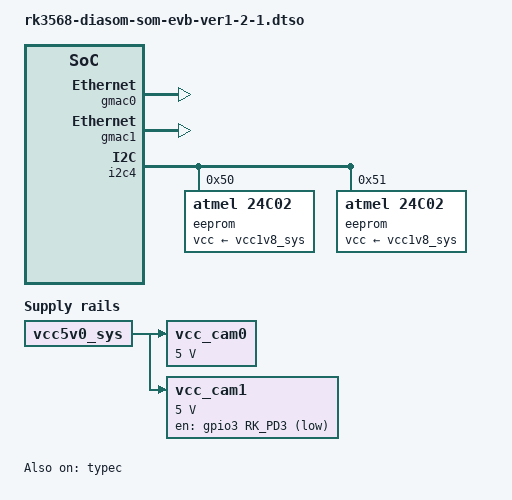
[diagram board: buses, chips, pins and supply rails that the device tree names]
/* SPDX-License-Identifier: GPL-2.0+ */
/* SPDX-FileCopyrightText: Alexander Shiyan <shc_work@mail.ru> */

/dts-v1/;
/plugin/;

#include <dt-bindings/interrupt-controller/irq.h>
#include <dt-bindings/gpio/gpio.h>
#include <dt-bindings/pinctrl/rockchip.h>

&gmac0 {
	nvmem-cells = <&mac0>;
	nvmem-cell-names = "mac-address";
	status = "okay";
};

&gmac1 {
	nvmem-cells = <&mac1>;
	nvmem-cell-names = "mac-address";
	status = "okay";
};

&i2c4 {
	#address-cells = <1>;
	#size-cells = <0>;

	/* 24aa025e48 */
	eeprom@50 {
		compatible = "atmel,24c02";
		reg = <0x50>;
		pagesize = <16>;
		vcc-supply = <&vcc1v8_sys>;
		#address-cells = <1>;
		#size-cells = <1>;
		
		mac0: mac-address@fa {
			reg = <0xfa 0x06>;
			read-only;
		};
	};

	/* 24aa025e48 */
	eeprom@51 {
		compatible = "atmel,24c02";
		reg = <0x51>;
		pagesize = <16>;
		vcc-supply = <&vcc1v8_sys>;
		#address-cells = <1>;
		#size-cells = <1>;
		
		mac1: mac-address@fa {
			reg = <0xfa 0x06>;
			read-only;
		};
	};
};

&vcc_cam0 {
	regulator-min-microvolt = <5000000>;
	regulator-max-microvolt = <5000000>;
	vin-supply = <&vcc5v0_sys>;
	status = "okay";
};

&vcc_cam1 {
	pinctrl-names = "default";
	pinctrl-0 = <&csi1_pwr>;
	gpio = <&gpio3 RK_PD3 GPIO_ACTIVE_HIGH>;
	regulator-min-microvolt = <5000000>;
	regulator-max-microvolt = <5000000>;
	vin-supply = <&vcc5v0_sys>;
	status = "okay";
};

&typec {
	pinctrl-names = "default";
	pinctrl-0 = <&fusb302_pins>;
	interrupt-parent = <&gpio1>;
	interrupts = <RK_PA5 IRQ_TYPE_LEVEL_LOW>;
	status = "okay";
};

&vcc3v3_pcie20 {
	pinctrl-names = "default";
	pinctrl-0 = <&pcie20_pwr_pins>;
	gpio = <&gpio0 RK_PC2 GPIO_ACTIVE_HIGH>;
	status = "okay";
};

&vcc5v0_usb3_host1 {
	pinctrl-names = "default";
	pinctrl-0 = <&usb3_host1_en_pins>;
	gpio = <&gpio0 RK_PC3 GPIO_ACTIVE_HIGH>;
	status = "okay";
};

&vcc5v0_usb3_otg0 {
	pinctrl-names = "default";
	pinctrl-0 = <&usb3_otg0_en_pins>;
	gpio = <&gpio0 RK_PC1 GPIO_ACTIVE_HIGH>;
	enable-active-high;
	status = "okay";
};

&pinctrl {
	csi {
		csi1_pwr: csi1-pwr-pins {
			rockchip,pins =
				<3 RK_PD3 RK_FUNC_GPIO &pcfg_pull_up>;		/* CSI_PWREN1 */
		};
	};

	fusb302 {
		fusb302_pins: fusb302-pins {
			rockchip,pins =
				<1 RK_PA5 RK_FUNC_GPIO &pcfg_pull_up>;		/* USB3_OTG_INT */
		};
	};

	pcie20 {
		pcie20_pwr_pins: pcie20-pwr-pins {
			rockchip,pins =
				<0 RK_PC2 RK_FUNC_GPIO &pcfg_pull_none>;	/* PCIE20_PWREN */
		};
	};

	usb {
		usb3_host1_en_pins: usb3-host1-en-pins {
			rockchip,pins =
				<0 RK_PC3 RK_FUNC_GPIO &pcfg_pull_none>;	/* USB3_HOST1_EN */
		};

		usb3_otg0_en_pins: usb3-otg0-en-pins {
			rockchip,pins =
				<0 RK_PC1 RK_FUNC_GPIO &pcfg_pull_none>;	/* USB3_OTG0_EN */
		};
	};
};
